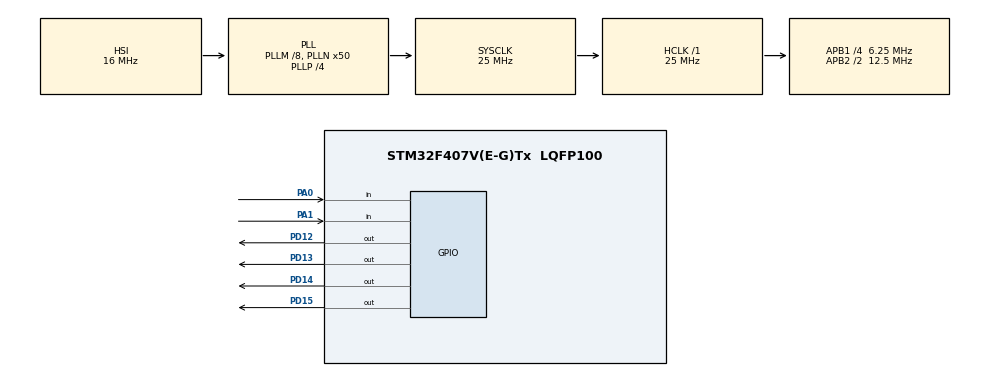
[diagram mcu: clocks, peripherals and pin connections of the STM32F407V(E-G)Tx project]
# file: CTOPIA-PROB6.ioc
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Mcu.Family=STM32F4
Mcu.Name=STM32F407V(E-G)Tx
Mcu.Package=LQFP100
NVIC.PriorityGroup=NVIC_PRIORITYGROUP_0
PA0-WKUP.GPIO_PuPd=GPIO_PULLDOWN
PA0-WKUP.Signal=GPIO_Input
PA1.GPIO_PuPd=GPIO_PULLDOWN
PA1.Signal=GPIO_Input
PD12.Signal=GPIO_Output
PD13.Signal=GPIO_Output
PD14.Signal=GPIO_Output
PD15.Signal=GPIO_Output
ProjectManager.HeapSize=0x200
ProjectManager.StackSize=0x400
ProjectManager.TargetToolchain=STM32CubeIDE
RCC.48MHZClocksFreq_Value=14285714.285714285
RCC.AHBFreq_Value=25000000
RCC.APB1CLKDivider=RCC_HCLK_DIV4
RCC.APB1Freq_Value=6250000
RCC.APB1TimFreq_Value=12500000
RCC.APB2CLKDivider=RCC_HCLK_DIV2
RCC.APB2Freq_Value=12500000
RCC.APB2TimFreq_Value=25000000
RCC.CortexFreq_Value=25000000
RCC.HCLKFreq_Value=25000000
RCC.HSE_VALUE=8000000
RCC.HSI_VALUE=16000000
RCC.LSE_VALUE=32768
RCC.PLLM=8
RCC.PLLN=50
RCC.PLLP=RCC_PLLP_DIV4
RCC.PLLQ=7
RCC.SYSCLKFreq_VALUE=25000000
RCC.SYSCLKSource=RCC_SYSCLKSOURCE_PLLCLK
RCC.VCOOutputFreq_Value=100000000
board=STM32F407G-DISC1

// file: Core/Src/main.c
/* USER CODE BEGIN Header */
/**
  ******************************************************************************
  * @file           : main.c
  * @brief          : Main program body
  ******************************************************************************
  * @attention
  *
  * Copyright (c) 2025 STMicroelectronics.
  * All rights reserved.
  *
  * This software is licensed under terms that can be found in the LICENSE file
  * in the root directory of this software component.
  * If no LICENSE file comes with this software, it is provided AS-IS.
  *
  ******************************************************************************
  */
/* USER CODE END Header */
#include "main.h"

/* USER CODE BEGIN PV */
uint8_t counter=0;
uint8_t c=0;

/* USER CODE END PV */

void SystemClock_Config(void);
static void MX_GPIO_Init(void);

int main(void)
{

  /* MCU Configuration--------------------------------------------------------*/

  /* Reset of all peripherals, Initializes the Flash interface and the Systick. */
  HAL_Init();

  /* Configure the system clock */
  SystemClock_Config();

  /* Initialize all configured peripherals */
  MX_GPIO_Init();

  /* Infinite loop */
  /* USER CODE BEGIN WHILE */
  while (1){
	  if(HAL_GPIO_ReadPin(GPIOA, GPIO_PIN_0)==GPIO_PIN_SET){
		  if(counter==0b00001111){

		  }
		  else{
			  counter= counter + 0b00000001;
			  c=counter;
			  HAL_GPIO_WritePin(GPIOD, GPIO_PIN_12, c & 0b00000001);
			  HAL_GPIO_WritePin(GPIOD, GPIO_PIN_13, c>>1 & 0b00000001);
			  HAL_GPIO_WritePin(GPIOD, GPIO_PIN_14, c>>2 & 0b00000001);
			  HAL_GPIO_WritePin(GPIOD, GPIO_PIN_15, c>>3 & 0b00000001);
			  HAL_Delay(100);
		  }
  }
	  if(HAL_GPIO_ReadPin(GPIOA, GPIO_PIN_1)==GPIO_PIN_SET){
		  counter=0b00000000;
		  HAL_GPIO_WritePin(GPIOD, GPIO_PIN_12 | GPIO_PIN_13 | GPIO_PIN_14 | GPIO_PIN_15, GPIO_PIN_RESET);
	  }

	  if(counter==0){
		  HAL_GPIO_TogglePin(GPIOD, GPIO_PIN_15);
		  HAL_Delay(1000);
	  }
    /* USER CODE END WHILE */

  }
}

void SystemClock_Config(void)
{
  RCC_OscInitTypeDef RCC_OscInitStruct = {0};
  RCC_ClkInitTypeDef RCC_ClkInitStruct = {0};

  /** Configure the main internal regulator output voltage
  */
  __HAL_RCC_PWR_CLK_ENABLE();
  __HAL_PWR_VOLTAGESCALING_CONFIG(PWR_REGULATOR_VOLTAGE_SCALE1);

  /** Initializes the RCC Oscillators according to the specified parameters
  * in the RCC_OscInitTypeDef structure.
  */
  RCC_OscInitStruct.OscillatorType = RCC_OSCILLATORTYPE_HSI;
  RCC_OscInitStruct.HSIState = RCC_HSI_ON;
  RCC_OscInitStruct.HSICalibrationValue = RCC_HSICALIBRATION_DEFAULT;
  RCC_OscInitStruct.PLL.PLLState = RCC_PLL_ON;
  RCC_OscInitStruct.PLL.PLLSource = RCC_PLLSOURCE_HSI;
  RCC_OscInitStruct.PLL.PLLM = 8;
  RCC_OscInitStruct.PLL.PLLN = 50;
  RCC_OscInitStruct.PLL.PLLP = RCC_PLLP_DIV4;
  RCC_OscInitStruct.PLL.PLLQ = 7;
  if (HAL_RCC_OscConfig(&RCC_OscInitStruct) != HAL_OK)
  {
    Error_Handler();
  }

  /** Initializes the CPU, AHB and APB buses clocks
  */
  RCC_ClkInitStruct.ClockType = RCC_CLOCKTYPE_HCLK|RCC_CLOCKTYPE_SYSCLK
                              |RCC_CLOCKTYPE_PCLK1|RCC_CLOCKTYPE_PCLK2;
  RCC_ClkInitStruct.SYSCLKSource = RCC_SYSCLKSOURCE_PLLCLK;
  RCC_ClkInitStruct.AHBCLKDivider = RCC_SYSCLK_DIV1;
  RCC_ClkInitStruct.APB1CLKDivider = RCC_HCLK_DIV4;
  RCC_ClkInitStruct.APB2CLKDivider = RCC_HCLK_DIV2;

  if (HAL_RCC_ClockConfig(&RCC_ClkInitStruct, FLASH_LATENCY_0) != HAL_OK)
  {
    Error_Handler();
  }
}

static void MX_GPIO_Init(void)
{
  GPIO_InitTypeDef GPIO_InitStruct = {0};

  /* GPIO Ports Clock Enable */
  __HAL_RCC_GPIOA_CLK_ENABLE();
  __HAL_RCC_GPIOD_CLK_ENABLE();

  /*Configure GPIO pin Output Level */
  HAL_GPIO_WritePin(GPIOD, GPIO_PIN_12|GPIO_PIN_13|GPIO_PIN_14|GPIO_PIN_15, GPIO_PIN_RESET);

  /*Configure GPIO pins : PA0 PA1 */
  GPIO_InitStruct.Pin = GPIO_PIN_0|GPIO_PIN_1;
  GPIO_InitStruct.Mode = GPIO_MODE_INPUT;
  GPIO_InitStruct.Pull = GPIO_PULLDOWN;
  HAL_GPIO_Init(GPIOA, &GPIO_InitStruct);

  /*Configure GPIO pins : PD12 PD13 PD14 PD15 */
  GPIO_InitStruct.Pin = GPIO_PIN_12|GPIO_PIN_13|GPIO_PIN_14|GPIO_PIN_15;
  GPIO_InitStruct.Mode = GPIO_MODE_OUTPUT_PP;
  GPIO_InitStruct.Pull = GPIO_NOPULL;
  GPIO_InitStruct.Speed = GPIO_SPEED_FREQ_LOW;
  HAL_GPIO_Init(GPIOD, &GPIO_InitStruct);

}

void Error_Handler(void)
{
  __disable_irq();
  while (1)
  {
  }
}
